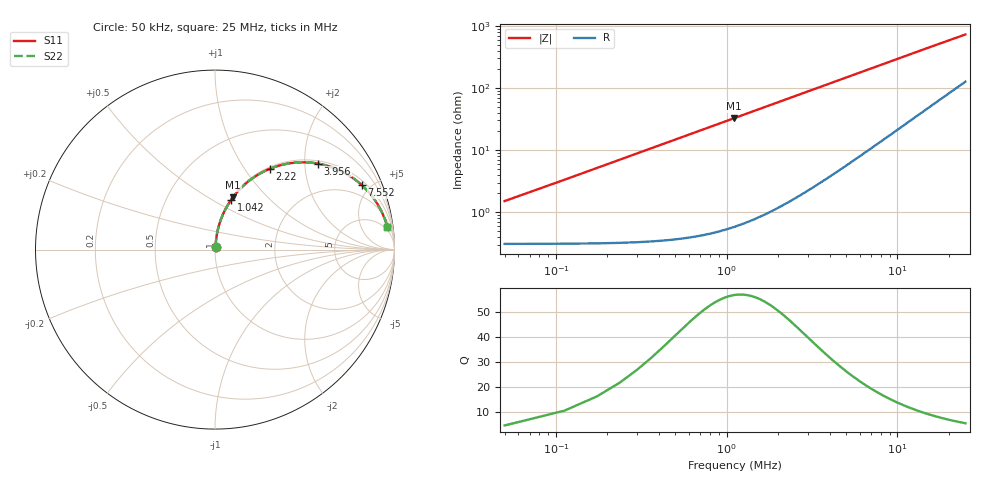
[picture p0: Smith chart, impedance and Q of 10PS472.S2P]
! Coilcraft 1008PS-472 Power Chip Inductor
! 7 October 2002
# MHZ S MA R 50
!Freq  MagS11  AngS11  MagS21  AngS21  MagS12  AngS12  MagS22  AngS22
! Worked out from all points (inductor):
!   404 points, 50 kHz to 25 MHz, reference 50 ohm
!   read as one part in series: L = 4.7 uH near 174 kHz
!   highest Q = 56.4 at 1.104 MHz (marker M1), where L = 4.7 uH
!   S11 on the Smith chart (normalised r, x): 50 kHz: 1.01, +0.03; 1.042 MHz: 1.01, +0.62; 2.22 MHz: 1.03, +1.31; 3.956 MHz: 1.07, +2.34; 7.552 MHz: 1.25, +4.45; 25 MHz: 4, +14
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0.05  0.01504 77.4  0.9968 -0.8  0.9968 -0.8  0.01504 77.4
0.112  0.03311 82.8  0.9964 -1.9  0.9964 -1.9  0.03311 82.8
0.236  0.06941 83.4  0.9944 -4.0  0.9944 -4.0  0.06941 83.4
0.298  0.08748 82.9  0.9929 -5.0  0.9929 -5.0  0.08748 82.9
0.422  0.1233 81.3  0.9889 -7.1  0.9889 -7.1  0.1233 81.3
0.546  0.1587 79.5  0.9836 -9.1  0.9836 -9.1  0.1587 79.5
0.67  0.1935 77.7  0.9771 -11.2  0.9771 -11.2  0.1935 77.7
0.856  0.2441 74.8  0.9652 -14.1  0.9652 -14.1  0.2441 74.8
1.042  0.2928 72.0  0.951 -17.0  0.951 -17.0  0.2928 72.0
1.104  0.3085 71.0  0.9458 -18.0  0.9458 -18.0  0.3085 71.0
1.6  0.4244 63.8  0.8977 -25.1  0.8977 -25.1  0.4244 63.8
2.22  0.5432 55.9  0.8283 -32.9  0.8283 -32.9  0.5432 55.9
2.964  0.6507 48.0  0.7432 -40.6  0.7432 -40.6  0.6507 48.0
3.956  0.7483 39.8  0.6404 -48.4  0.6404 -48.4  0.7483 39.8
4.266  0.7709 37.7  0.6119 -50.4  0.6119 -50.4  0.7709 37.7
5.754  0.846 29.8  0.498 -57.7  0.498 -57.7  0.846 29.8
7.552  0.8941 23.6  0.4013 -63.2  0.4013 -63.2  0.8941 23.6
8.42  0.9086 21.4  0.3659 -65.1  0.3659 -65.1  0.9086 21.4
12.574  0.9443 14.7  0.2552 -70.1  0.2552 -70.1  0.9443 14.7
16.728  0.958 11.2  0.1952 -72.1  0.1952 -72.1  0.958 11.2
20.882  0.9646 9.0  0.158 -72.6  0.158 -72.6  0.9646 9.0
25  0.9683 7.5  0.1331 -72.5  0.1331 -72.5  0.9683 7.5
